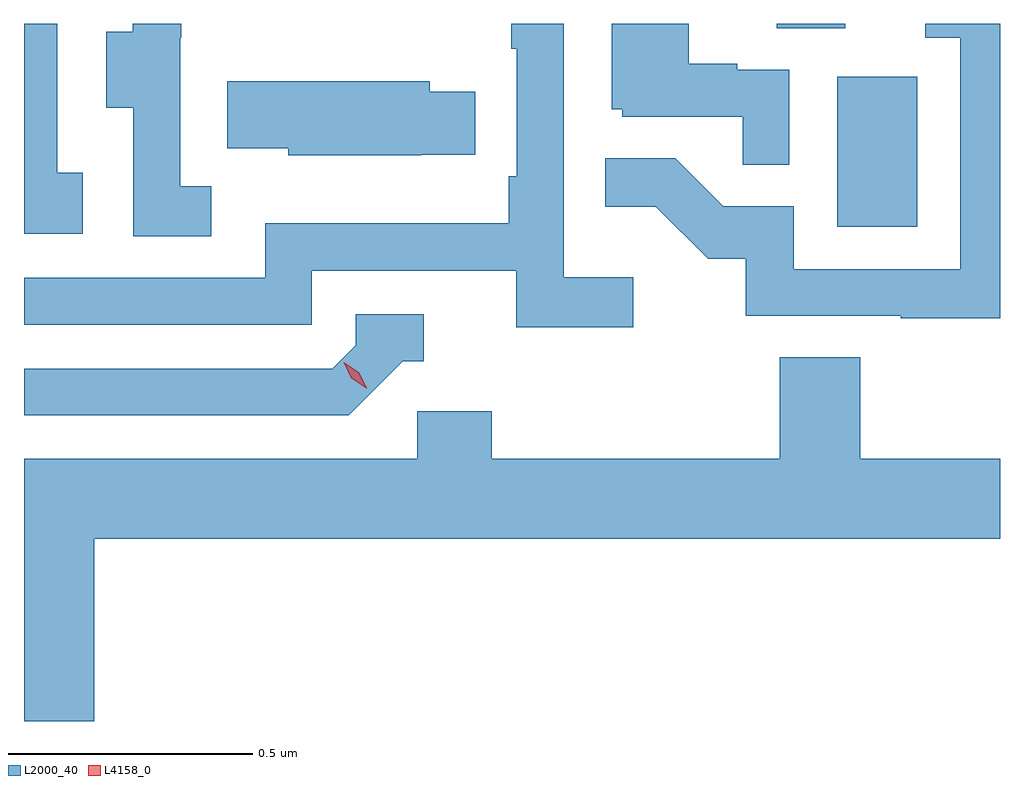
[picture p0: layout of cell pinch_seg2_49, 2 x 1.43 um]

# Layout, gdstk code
import gdstk
lib = gdstk.Library(unit=1e-6, precision=1e-09)
def R(c, l, rs):  # rectangles x0, y0, x1, y1
    for r in rs: c.add(gdstk.rectangle(r[:2], r[2:], *l))
def P(c, l, *ps):  # polygons
    for p in ps: c.add(gdstk.Polygon(p, *l))
L2000_40 = (2000, 40)
L4158_0 = (4158, 0)

pinch_seg2_49 = lib.new_cell('pinch_seg2_49')
R(pinch_seg2_49, L2000_40, [(1017.842,658.932,1018.006,659.239), (1017.719,659.338,1017.859,659.348)])
P(pinch_seg2_49, L2000_40, [(1018.176,659.348),(1018.023,659.348),(1018.023,659.319),(1018.095,659.319),(1018.095,658.845),(1017.753,658.845),(1017.753,658.974),(1017.609,658.974),(1017.511,659.072),(1017.367,659.072),(1017.367,658.973),(1017.471,658.973),(1017.578,658.866),(1017.655,658.866),(1017.655,658.749),(1017.973,658.749),(1017.973,658.744),(1018.176,658.744)],
  [(1016.296,659.042),(1016.244,659.042),(1016.244,659.348),(1016.176,659.348),(1016.176,658.917),(1016.296,658.917)],
  [(1017.424,658.828),(1017.282,658.828),(1017.282,659.348),(1017.174,659.348),(1017.174,659.296),(1017.186,659.296),(1017.186,659.035),(1017.169,659.035),(1017.169,658.939),(1016.67,658.939),(1016.67,658.827),(1016.176,658.827),(1016.176,658.731),(1016.766,658.731),(1016.766,658.842),(1017.185,658.842),(1017.185,658.726),(1017.424,658.726)],
  [(1017.744,659.253),(1017.638,659.253),(1017.638,659.266),(1017.538,659.266),(1017.538,659.348),(1017.38,659.348),(1017.38,659.172),(1017.402,659.172),(1017.402,659.157),(1017.649,659.157),(1017.649,659.059),(1017.744,659.059)],
  [(1016.56,659.015),(1016.496,659.015),(1016.496,659.319),(1016.498,659.319),(1016.498,659.348),(1016.399,659.348),(1016.399,659.331),(1016.345,659.331),(1016.345,659.176),(1016.4,659.176),(1016.4,658.912),(1016.56,658.912)],
  [(1016.99,659.079),(1017.101,659.079),(1017.101,659.208),(1017.007,659.208),(1017.007,659.23),(1016.593,659.23),(1016.593,659.093),(1016.718,659.093),(1016.718,659.078),(1016.99,659.078)],
  [(1016.952,658.656),(1016.995,658.656),(1016.995,658.752),(1016.856,658.752),(1016.856,658.689),(1016.808,658.641),(1016.176,658.641),(1016.176,658.545),(1016.841,658.545)],
  [(1016.32,658.292),(1018.176,658.292),(1018.176,658.456),(1017.89,658.456),(1017.89,658.664),(1017.725,658.664),(1017.725,658.456),(1017.134,658.456),(1017.134,658.554),(1016.982,658.554),(1016.982,658.456),(1016.176,658.456),(1016.176,657.918),(1016.32,657.918)])
P(pinch_seg2_49, L4158_0, [(1016.877,658.601),(1016.847,658.621),(1016.831,658.654),(1016.831,658.654),(1016.831,658.654),(1016.862,658.634),(1016.878,658.602),(1016.878,658.601)])

lib.write_gds('pinch_seg2_49.gds')
